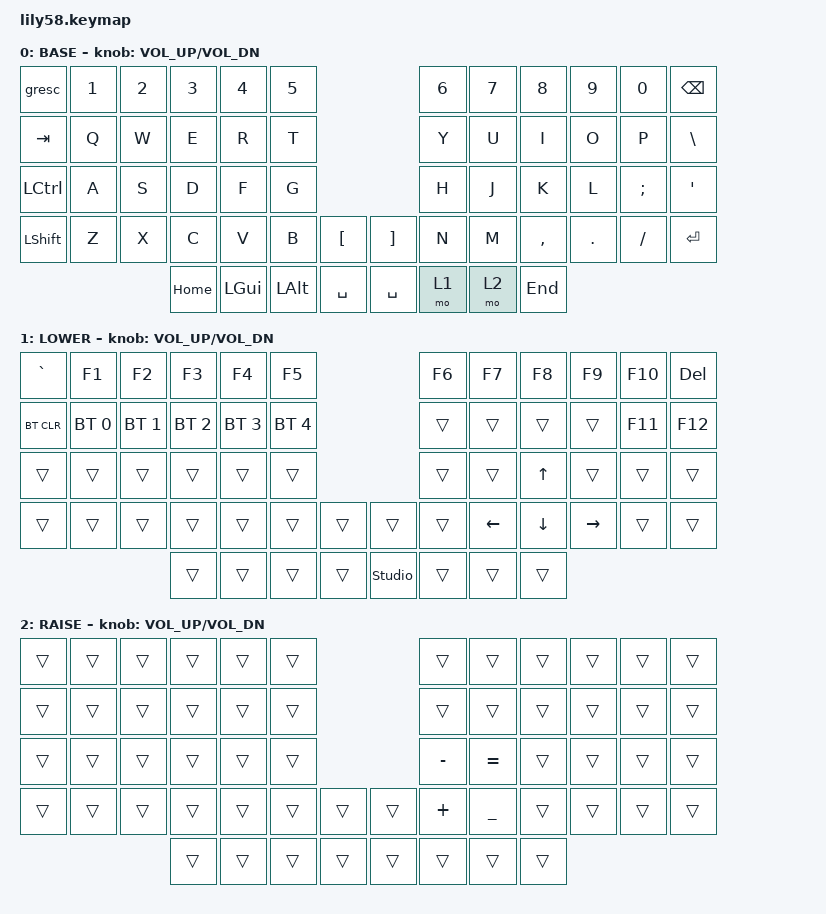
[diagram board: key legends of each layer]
/*
 * Copyright (c) 2020 The ZMK Contributors
 *
 * SPDX-License-Identifier: MIT
 */

#include <behaviors.dtsi>
#include <dt-bindings/zmk/keys.h>
#include <dt-bindings/zmk/bt.h>
#include <dt-bindings/zmk/ext_power.h>

/ {
    keymap {
        compatible = "zmk,keymap";

        default_layer {
            display-name = "BASE";
            bindings = <
&gresc     &kp N1  &kp N2  &kp N3    &kp N4    &kp N5                                &kp N6  &kp N7  &kp N8     &kp N9   &kp N0    &kp BACKSPACE
&kp TAB    &kp Q   &kp W   &kp E     &kp R     &kp T                                 &kp Y   &kp U   &kp I      &kp O    &kp P     &kp BACKSLASH
&kp LCTRL  &kp A   &kp S   &kp D     &kp F     &kp G                                 &kp H   &kp J   &kp K      &kp L    &kp SEMI  &kp SQT
&kp LSHFT  &kp Z   &kp X   &kp C     &kp V     &kp B         &kp LBKT     &kp RBKT   &kp N   &kp M   &kp COMMA  &kp DOT  &kp FSLH  &kp RETURN
                           &kp HOME  &kp LGUI  &kp LEFT_ALT  &kp SPACE    &kp SPACE  &mo 1   &mo 2   &kp END
            >;

            sensor-bindings = <&inc_dec_kp C_VOL_UP C_VOL_DN>;
        };

        lower_layer {

            display-name = "LOWER";
            bindings = <
&kp GRAVE   &kp F1        &kp F2        &kp F3        &kp F4        &kp F5                                  &kp F6  &kp F7          &kp F8          &kp F9           &kp F10  &kp DELETE
&bt BT_CLR  &bt BT_SEL 0  &bt BT_SEL 1  &bt BT_SEL 2  &bt BT_SEL 3  &bt BT_SEL 4                            &trans  &trans          &trans          &trans           &kp F11  &kp F12
&trans      &trans        &trans        &trans        &trans        &trans                                  &trans  &trans          &kp UP_ARROW    &trans           &trans   &trans
&trans      &trans        &trans        &trans        &trans        &trans        &trans    &trans          &trans  &kp LEFT_ARROW  &kp DOWN_ARROW  &kp RIGHT_ARROW  &trans   &trans
                                        &trans        &trans        &trans        &trans    &studio_unlock  &trans  &trans          &trans
            >;

            sensor-bindings = <&inc_dec_kp C_VOL_UP C_VOL_DN>;
        };

        raise_layer {

            display-name = "RAISE";
            bindings = <
&trans  &trans  &trans  &trans  &trans  &trans                    &trans     &trans          &trans  &trans  &trans  &trans
&trans  &trans  &trans  &trans  &trans  &trans                    &trans     &trans          &trans  &trans  &trans  &trans
&trans  &trans  &trans  &trans  &trans  &trans                    &kp MINUS  &kp EQUAL       &trans  &trans  &trans  &trans
&trans  &trans  &trans  &trans  &trans  &trans  &trans    &trans  &kp PLUS   &kp UNDERSCORE  &trans  &trans  &trans  &trans
                        &trans  &trans  &trans  &trans    &trans  &trans     &trans          &trans
            >;

            sensor-bindings = <&inc_dec_kp C_VOL_UP C_VOL_DN>;
        };

        extra_1 {
            status = "reserved";
        };

        extra_2 {
            status = "reserved";
        };

        extra_3 {
            status = "reserved";
        };
    };
};
